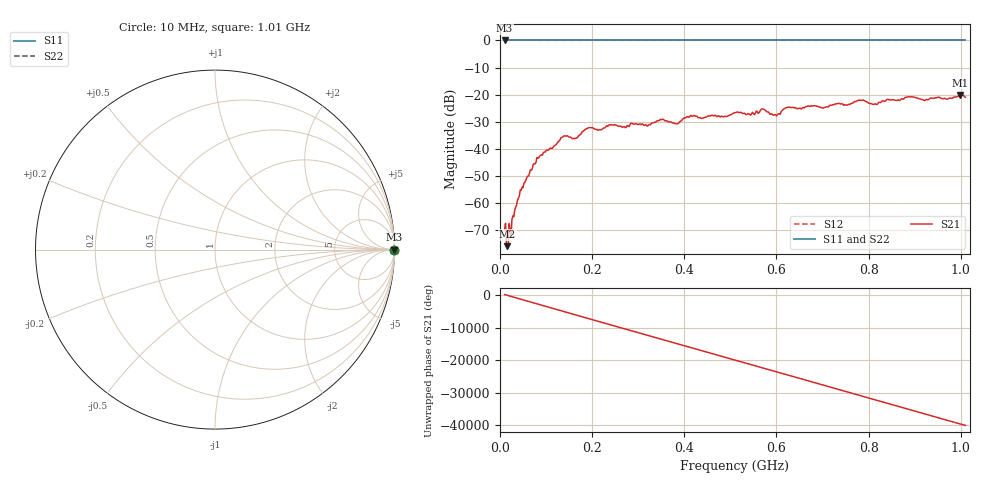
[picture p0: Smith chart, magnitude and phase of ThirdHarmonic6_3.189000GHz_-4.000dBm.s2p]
! 8/17/2025 9:39:01 AM
! C:\ANRITSUVNA\TEMP\TEMP.S2P
! CHANNEL.1
! TR.MEASUREMENT
! RAW.DATA
! RF.CORRECTION.OFF
! AVERAGING.OFF
! IF.BANDWIDTH: 5KHZ
! SWEEPTYPE:  FREQ.SWEEP(Linear)
! Reference Plane Port Info
! PORT:  PORT1  PORT2
! DISTANCE:  0  m  0  m
! TIME:  0  s  0  s
! PHASE.OFFSET:  0  deg.  0  deg.
! LOSS:  0  dB  0  dB
! REF.LOSS:  0  dB  0  dB
! REF.FREQ:  0  Hz  0  Hz
! Power Info
! POWER:  -20  dBm  -20  dBm
! EFF.POWER:  -20  dBm  -20  dBm
! SOURCE.ATTEN:  0  dB  0  dB
! TEST.ATTEN:  0  dB  0  dB
# GHZ S RI R 50.0
! FREQ.GHZ  S11RE  S11IM  S21RE  S21IM  S12RE  S12IM  S22RE  S22IM
!; PortSelection: Port_12
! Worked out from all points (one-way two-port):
!   501 points, 10 MHz to 1.01 GHz, reference 50 ohm
!   highest |S21| = -20.07 dB at 998 MHz (marker M1); lowest = -75.8 dB at 16 MHz (marker M2)
!   lowest |S11| = 0.0 dB at 10 MHz (marker M3)
!   |S11| at or under -10 dB: nowhere
!   |S22| runs from 0.0 to 0.0 dB; largest |S21 - S12| = 1.1
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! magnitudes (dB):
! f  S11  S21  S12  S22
! 10 MHz  0.0  -69.8  0.0  0.0
! 16 MHz  0.0  -75.8  0.0  0.0
! 20 MHz  0.0  -67.5  0.0  0.0
! 30 MHz  0.0  -65.0  0.0  0.0
! 44 MHz  0.0  -55.1  0.0  0.0
! 84 MHz  0.0  -43.3  0.0  0.0
! 136 MHz  0.0  -35.6  0.0  0.0
! 164 MHz  0.0  -36.1  0.0  0.0
! 178 MHz  0.0  -33.7  0.0  0.0
! 194 MHz  0.0  -32.1  0.0  0.0
! 322 MHz  0.0  -31.2  0.0  0.0
! 344 MHz  0.0  -29.6  0.0  0.0
! 384 MHz  0.0  -30.7  0.0  0.0
! 416 MHz  0.0  -27.9  0.0  0.0
! 510 MHz  0.0  -26.6  0.0  0.0
! 570 MHz  0.0  -25.2  0.0  0.0
! 598 MHz  0.0  -27.4  0.0  0.0
! 622 MHz  0.0  -24.7  0.0  0.0
! 678 MHz  0.0  -24.2  0.0  0.0
! 844 MHz  0.0  -21.9  0.0  0.0
! 998 MHz  0.0  -20.1  0.0  0.0
! 1.01 GHz  0.0  -20.9  0.0  0.0
